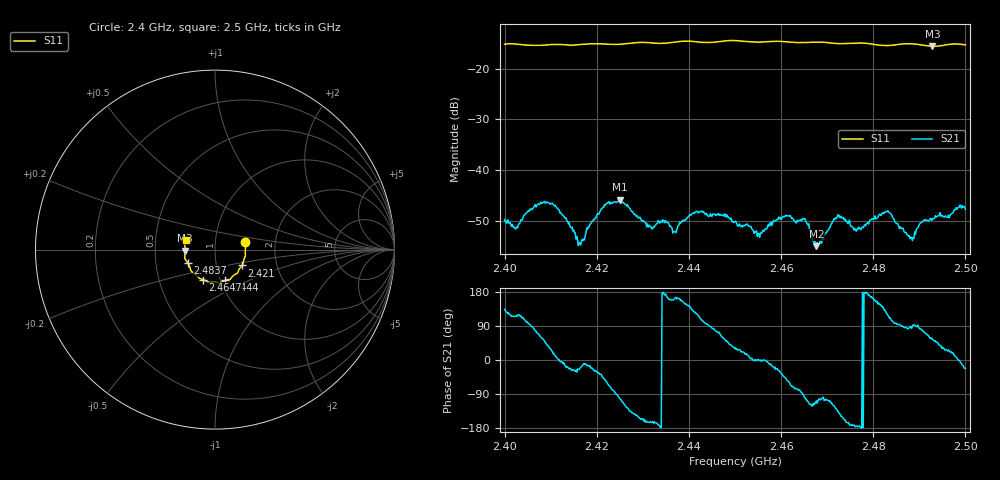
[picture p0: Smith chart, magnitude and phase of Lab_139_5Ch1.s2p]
# Hz S RI R 50
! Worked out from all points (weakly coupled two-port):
!   601 points, 2.4 GHz to 2.5 GHz, reference 50 ohm
!   highest |S21| = -45.73 dB at 2.425 GHz (marker M1); lowest = -54.9 dB at 2.4677 GHz (marker M2)
!   lowest |S11| = -15.6 dB at 2.4928 GHz (marker M3), VSWR 1.40, Z = 35.8 - j0.376 ohm
!   |S11| at or under -10 dB: start of sweep to end of sweep
!   S12 and S22 are empty: the file has one direction only
!   S11 on the Smith chart (normalised r, x): 2.4 GHz: 1.40, +0.12; 2.421 GHz: 1.33, -0.24; 2.444 GHz: 1.06, -0.37; 2.4647 GHz: 0.83, -0.29; 2.4837 GHz: 0.73, -0.11; 2.5 GHz: 0.72, +0.08
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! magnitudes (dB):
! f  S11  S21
! 2.4 GHz  -15.2  -49.6
! 2.4023 GHz  -15.2  -51.5
! 2.41 GHz  -15.3  -46.5
! 2.4167 GHz  -15.3  -54.0
! 2.421 GHz  -15.2  -47.5
! 2.425 GHz  -15.2  -45.7
! 2.4333 GHz  -15.1  -49.9
! 2.437 GHz  -14.8  -52.0
! 2.444 GHz  -14.9  -48.9
! 2.45 GHz  -14.5  -50.0
! 2.4553 GHz  -14.8  -53.2
! 2.4608 GHz  -14.7  -49.0
! 2.4647 GHz  -14.9  -49.5
! 2.4667 GHz  -14.8  -53.1
! 2.4677 GHz  -14.8  -54.9
! 2.4722 GHz  -15.1  -49.2
! 2.4762 GHz  -15.0  -51.6
! 2.4833 GHz  -15.5  -48.2
! 2.4837 GHz  -15.5  -48.4
! 2.4883 GHz  -15.1  -53.1
! 2.4928 GHz  -15.6  -49.4
! 2.5 GHz  -15.3  -47.7
